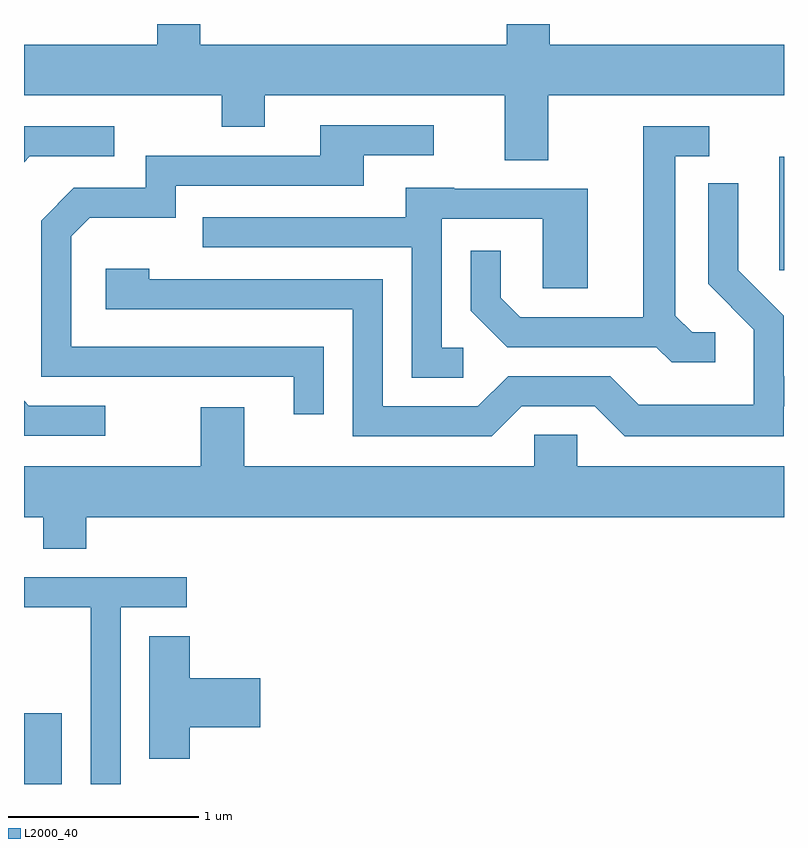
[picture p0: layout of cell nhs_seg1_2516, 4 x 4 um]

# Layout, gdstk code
import gdstk
lib = gdstk.Library(unit=1e-6, precision=1e-09)
def R(c, l, rs):  # rectangles x0, y0, x1, y1
    for r in rs: c.add(gdstk.rectangle(r[:2], r[2:], *l))
def P(c, l, *ps):  # polygons
    for p in ps: c.add(gdstk.Polygon(p, *l))
L2000_40 = (2000, 40)

nhs_seg1_2516 = lib.new_cell('nhs_seg1_2516')
R(nhs_seg1_2516, L2000_40, [(261.611,913.712,261.809,914.084), (265.586,916.416,265.611,917.014)])
P(nhs_seg1_2516, L2000_40, [(264.369,917.336),(265.611,917.336),(265.611,917.604),(264.379,917.604),(264.379,917.712),(264.151,917.712),(264.151,917.604),(262.539,917.604),(262.539,917.712),(262.311,917.712),(262.311,917.604),(261.611,917.604),(261.611,917.336),(262.651,917.336),(262.651,917.171),(262.879,917.171),(262.879,917.336),(264.141,917.336),(264.141,916.996),(264.369,916.996)],
  [(263.189,916.014),(261.859,916.014),(261.859,916.594),(261.957,916.691),(262.409,916.691),(262.409,916.861),(263.399,916.861),(263.399,917.021),(263.768,917.021),(263.768,917.179),(263.171,917.179),(263.171,917.019),(262.251,917.019),(262.251,916.849),(261.873,916.849),(261.701,916.677),(261.701,915.856),(263.031,915.856),(263.031,915.658),(263.189,915.658)],
  [(261.642,917.016),(262.087,917.016),(262.087,917.174),(261.611,917.174),(261.611,916.985)],
  [(265.248,916.089),(265.127,916.089),(265.039,916.177),(265.039,917.016),(265.218,917.016),(265.218,917.174),(264.871,917.174),(264.871,916.169),(264.222,916.169),(264.119,916.272),(264.119,916.518),(263.961,916.518),(263.961,916.204),(264.154,916.011),(264.939,916.011),(265.019,915.931),(265.248,915.931)],
  [(264.232,915.701),(264.614,915.701),(264.774,915.541),(265.609,915.541),(265.609,915.701),(265.611,915.701),(265.611,915.859),(265.609,915.859),(265.609,916.177),(265.369,916.417),(265.369,916.873),(265.211,916.873),(265.211,916.344),(265.451,916.104),(265.451,915.709),(264.847,915.709),(264.697,915.859),(264.159,915.859),(263.999,915.699),(263.499,915.699),(263.499,916.369),(262.269,916.369),(262.269,916.424),(262.041,916.424),(262.041,916.211),(263.341,916.211),(263.341,915.541),(264.072,915.541)],
  [(263.923,916.009),(263.809,916.009),(263.809,916.686),(264.341,916.686),(264.341,916.321),(264.579,916.321),(264.579,916.844),(263.875,916.844),(263.875,916.849),(263.621,916.849),(263.621,916.694),(262.553,916.694),(262.553,916.536),(263.651,916.536),(263.651,915.851),(263.923,915.851)],
  [(262.038,915.704),(261.637,915.704),(261.611,915.73),(261.611,915.546),(262.038,915.546)],
  [(261.939,915.116),(265.611,915.116),(265.611,915.384),(264.524,915.384),(264.524,915.549),(264.296,915.549),(264.296,915.384),(262.769,915.384),(262.769,915.694),(262.541,915.694),(262.541,915.384),(261.611,915.384),(261.611,915.116),(261.711,915.116),(261.711,914.951),(261.939,914.951)],
  [(262.119,914.641),(262.468,914.641),(262.468,914.799),(261.611,914.799),(261.611,914.641),(261.961,914.641),(261.961,913.712),(262.119,913.712)],
  [(262.484,914.011),(262.854,914.011),(262.854,914.269),(262.484,914.269),(262.484,914.489),(262.271,914.489),(262.271,913.846),(262.484,913.846)])

lib.write_gds('nhs_seg1_2516.gds')
